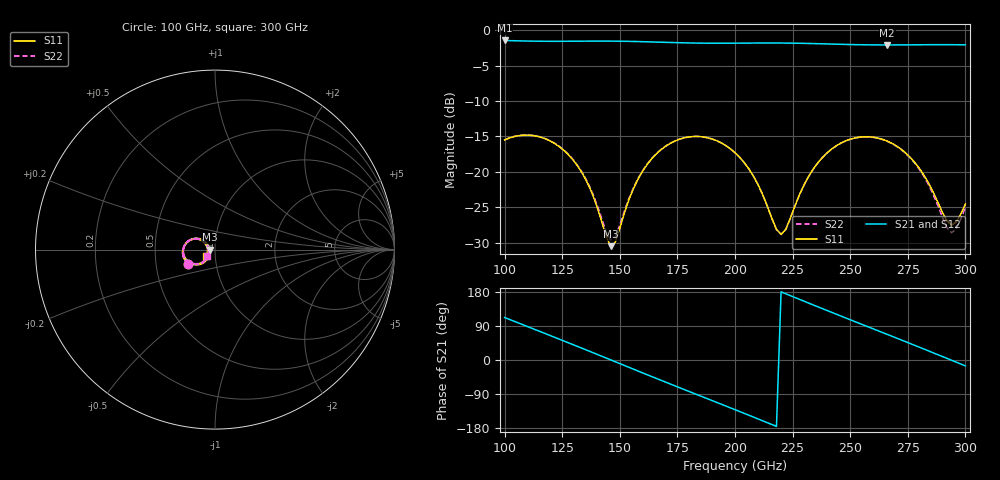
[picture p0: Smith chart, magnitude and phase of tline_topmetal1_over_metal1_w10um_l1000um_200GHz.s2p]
#  GHZ S DB R 50
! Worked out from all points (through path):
!   101 points, 100 GHz to 300 GHz, reference 50 ohm
!   highest |S21| = -1.45 dB at 100 GHz (marker M1); lowest = -2.1 dB at 266 GHz (marker M2)
!   group delay of S21, straight-line fit = 6.78 ps
!   lowest |S11| = -30.5 dB at 146 GHz (marker M3), VSWR 1.06, Z = 47.1 - j0.00401 ohm
!   |S11| at or under -10 dB: start of sweep to end of sweep
!   |S22| runs from -29.6 to -14.8 dB; largest |S21 - S12| = 1.5e-15
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100  -15.49 -152.0  -1.45 112.2  -1.45 112.2  -15.47 -151.5
108  -14.82 -168.8  -1.52 92.9  -1.52 92.9  -14.80 -168.2
116  -15.14 174.6  -1.56 73.7  -1.56 73.7  -15.11 175.3
126  -17.04 155.0  -1.56 49.6  -1.56 49.6  -16.99 156.0
134  -20.35 142.8  -1.55 30.1  -1.55 30.1  -20.25 144.4
146  -30.48 -179.9  -1.54 0.4  -1.54 0.4  -29.61 -179.8
148  -29.93 -156.0  -1.55 -4.5  -1.55 -4.5  -29.19 -158.3
158  -20.96 -129.5  -1.60 -29.3  -1.60 -29.3  -20.88 -131.4
168  -16.83 -144.3  -1.69 -53.8  -1.69 -53.8  -16.81 -145.5
176  -15.38 -159.6  -1.77 -73.2  -1.77 -73.2  -15.37 -160.5
184  -15.00 -175.4  -1.82 -92.5  -1.82 -92.5  -14.99 -176.1
200  -17.29 154.9  -1.83 -131.1  -1.83 -131.1  -17.29 154.2
210  -21.80 144.1  -1.81 -155.5  -1.81 -155.5  -21.81 143.4
220  -28.80 -174.8  -1.81 179.8  -1.81 179.8  -28.85 -175.4
234  -19.58 -136.0  -1.89 145.2  -1.89 145.2  -19.59 -136.5
250  -15.38 -161.8  -2.02 106.2  -2.02 106.2  -15.40 -162.6
258  -15.04 -176.9  -2.07 87.0  -2.07 87.0  -15.06 -177.8
266  -15.64 168.4  -2.08 67.8  -2.08 67.8  -15.68 167.2
268  -15.94 164.8  -2.08 62.9  -2.08 62.9  -15.99 163.6
280  -19.49 147.7  -2.05 33.8  -2.05 33.8  -19.63 145.5
294  -27.49 -178.0  -2.05 -0.7  -2.05 -0.7  -28.58 -177.9
300  -24.54 -144.6  -2.07 -15.5  -2.07 -15.5  -25.02 -140.7
